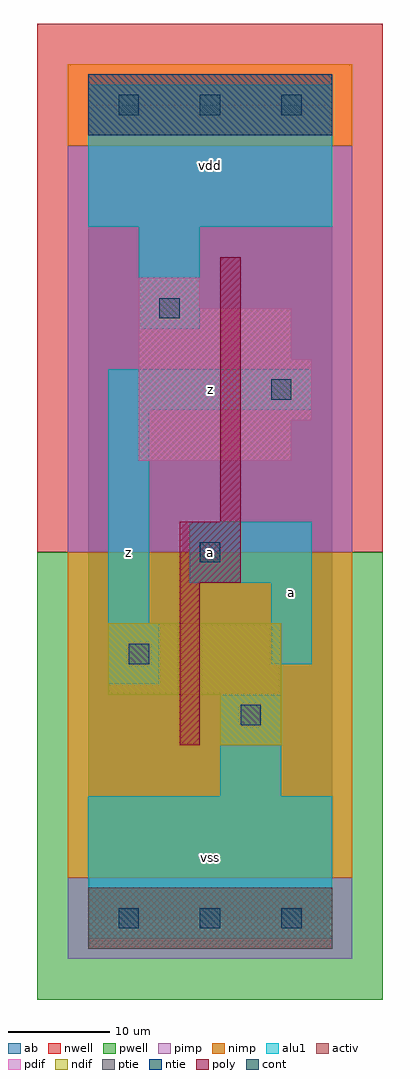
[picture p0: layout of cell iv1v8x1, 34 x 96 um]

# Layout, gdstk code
import gdstk
lib = gdstk.Library(unit=1e-6, precision=1e-09)
def R(c, l, rs):  # rectangles x0, y0, x1, y1
    for r in rs: c.add(gdstk.rectangle(r[:2], r[2:], *l))
def A(c, l, x, y, w, h, nx, ny, dx, dy):  # array of equal rectangles
    R(c, l, [(x+i*dx, y+j*dy, x+i*dx+w, y+j*dy+h) for i in range(nx) for j in range(ny)])
ndif = (3, 0)
pdif = (4, 0)
ntie = (5, 0)
ptie = (6, 0)
cont = (25, 0)
pwell = (41, 0)
nwell = (42, 0)
activ = (43, 0)
pimp = (44, 0)
nimp = (45, 0)
poly = (46, 0)
alu1 = (49, 0)
ab = (63, 0)

iv1v8x1 = lib.new_cell('iv1v8x1')
R(iv1v8x1, ndif, [(13,17,19,22), (2,22,19,29)])
R(iv1v8x1, pdif, [(5,45,20,49), (5,49,22,55), (5,55,20,60), (5,60,11,63)])
R(iv1v8x1, ntie, [(0,77,24,83)])
R(iv1v8x1, ptie, [(0,-3,24,3)])
A(iv1v8x1, cont, 3, -1, 2, 2, 3, 2, 8, 80)
R(iv1v8x1, cont, [(15,19,17,21), (4,25,6,27), (11,35,13,37), (18,51,20,53), (7,59,9,61)])
R(iv1v8x1, pwell, [(-5,-8,29,36)])
R(iv1v8x1, nwell, [(-5,36,29,88)])
R(iv1v8x1, activ, [(0,-3,24,3), (13,17,19,22), (2,22,19,29), (5,45,20,49), (5,49,22,55), (5,55,20,60), (5,60,11,63), (0,77,24,83)])
R(iv1v8x1, pimp, [(-2,-4,26,4), (-2,36,26,76)])
R(iv1v8x1, nimp, [(-2,4,26,36), (-2,76,26,84)])
R(iv1v8x1, poly, [(9,17,11,33), (9,33,15,39), (13,39,15,65)])
R(iv1v8x1, alu1, [(0,-2,24,12), (13,12,19,22), (2,23,7,29), (18,25,22,33), (2,29,6,50), (10,33,22,39), (2,50,22,54), (5,58,11,68), (0,68,24,82)])
R(iv1v8x1, ab, [(0,0,24,80)])
iv1v8x1.add(gdstk.Label('z', (4,36), layer=49, texttype=0))
iv1v8x1.add(gdstk.Label('vss', (12,6), layer=49, texttype=0))
iv1v8x1.add(gdstk.Label('a', (12,36), layer=49, texttype=0))
iv1v8x1.add(gdstk.Label('z', (12,52), layer=49, texttype=0))
iv1v8x1.add(gdstk.Label('vdd', (12,74), layer=49, texttype=0))
iv1v8x1.add(gdstk.Label('a', (20,32), layer=49, texttype=0))

lib.write_gds('iv1v8x1.gds')
